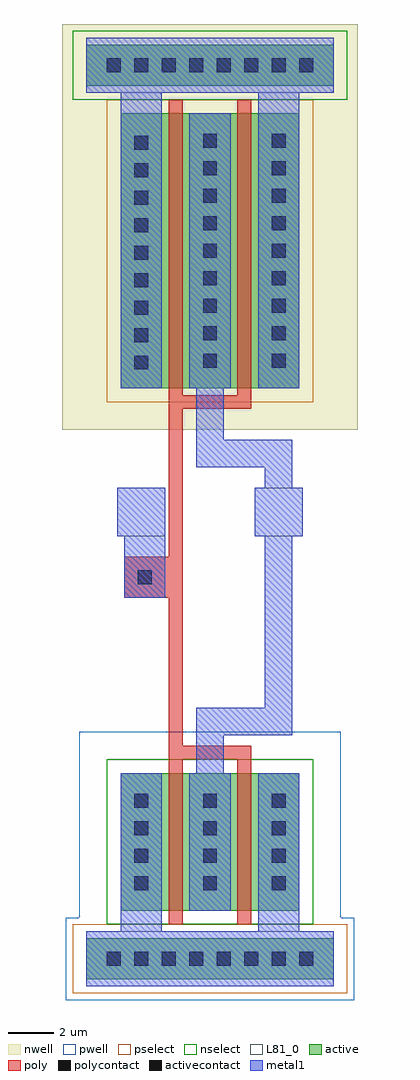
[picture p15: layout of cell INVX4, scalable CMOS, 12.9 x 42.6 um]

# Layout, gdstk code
import gdstk
lib = gdstk.Library(unit=1e-6, precision=1e-09)
def R(c, l, rs):  # rectangles x0, y0, x1, y1
    for r in rs: c.add(gdstk.rectangle(r[:2], r[2:], *l))
def A(c, l, x, y, w, h, nx, ny, dx, dy):  # array of equal rectangles
    R(c, l, [(x+i*dx, y+j*dy, x+i*dx+w, y+j*dy+h) for i in range(nx) for j in range(ny)])
pwell = (41, 0)
nwell = (42, 0)
active = (43, 0)
pselect = (44, 0)
nselect = (45, 0)
poly = (46, 0)
polycontact = (47, 0)
activecontact = (48, 0)
metal1 = (49, 0)
L81_0 = (81, 0)

invx4 = lib.new_cell('INVX4')
R(invx4, pwell, [(-1.8,-1.8,10.8,1.8), (-1.2,1.8,10.2,9.9)])
R(invx4, nwell, [(-1.95,23.1,10.95,40.8)])
R(invx4, active, [(-0.9,-0.9,9.9,0.9), (0.6,2.1,8.4,8.1), (0.6,24.9,8.4,36.9), (-0.9,38.1,9.9,39.9)])
R(invx4, pselect, [(-1.5,-1.5,10.5,1.5), (0,24.3,9,37.5)])
R(invx4, nselect, [(0,1.5,9,8.7), (-1.5,37.5,10.5,40.5)])
R(invx4, poly, [(2.7,1.5,3.3,8.7), (5.7,1.5,6.3,8.7), (2.7,8.7,6.3,9.3), (2.7,9.3,3.3,15.75), (0.75,15.75,3.3,17.55), (2.7,17.55,3.3,24), (2.7,24,6.3,24.6), (2.7,24.6,3.3,37.5), (5.7,24.6,6.3,37.5)])
R(invx4, polycontact, [(1.35,16.35,1.95,16.95)])
A(invx4, activecontact, 0, -0.3, 0.6, 0.6, 8, 2, 1.2, 39)
A(invx4, activecontact, 1.2, 3, 0.6, 0.6, 3, 4, 3, 1.2)
A(invx4, activecontact, 1.2, 25.72, 0.6, 0.6, 1, 9, 0, 1.2)
A(invx4, activecontact, 4.2, 25.8, 0.6, 0.6, 1, 9, 0, 1.2)
A(invx4, activecontact, 7.2, 25.8, 0.6, 0.6, 1, 9, 0, 1.2)
R(invx4, metal1, [(-0.9,-1.2,9.9,1.2), (0.6,1.2,2.4,8.1), (6.6,1.2,8.4,8.1), (3.6,2.1,5.4,8.1), (3.9,8.1,5.1,9.75), (3.9,9.75,8.1,10.95), (6.9,10.95,8.1,18.45), (0.75,15.75,2.55,18.45), (0.45,18.45,2.55,20.55), (6.45,18.45,8.55,20.55), (6.9,20.55,8.1,21.45), (3.9,21.45,8.1,22.65), (3.9,22.65,5.1,24.9), (0.6,24.9,2.4,37.8), (3.6,24.9,5.4,36.9), (6.6,24.9,8.4,37.8), (-0.9,37.8,9.9,40.2)])
R(invx4, L81_0, [(-0.9,-1.2,9.9,1.2), (0.45,18.45,2.55,20.55), (6.45,18.45,8.55,20.55), (-0.9,37.8,9.9,40.2)])

lib.write_gds('INVX4.gds')
